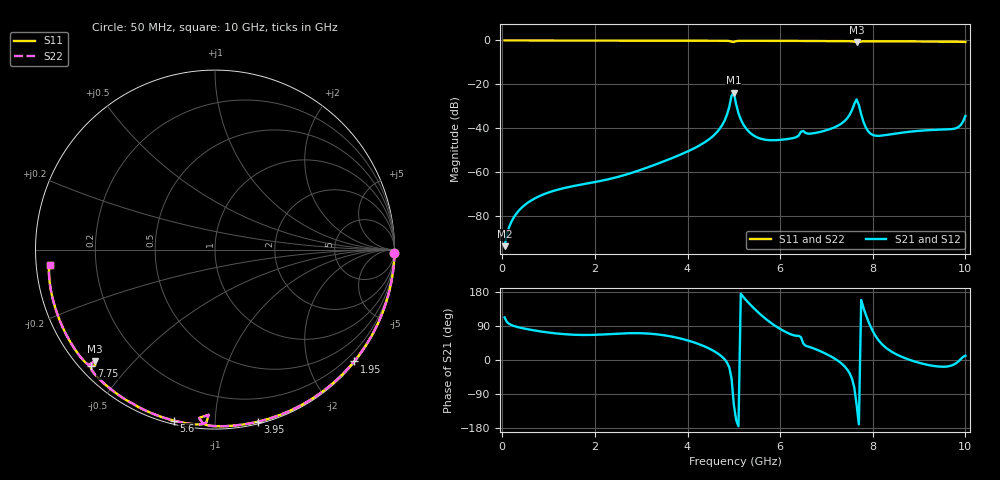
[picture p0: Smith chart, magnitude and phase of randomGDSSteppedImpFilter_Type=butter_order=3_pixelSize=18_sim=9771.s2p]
! freq	dB(S11)	phase(S11)	dB(S12)	phase(S12)
!  dB(S21)	phase(S21)	dB(S22)	phase(S22)
!S-par simulation data
#  GHz  S  DB  R 50
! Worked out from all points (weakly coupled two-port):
!   200 points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, 50 MHz to 10 GHz, reference 50 ohm
!   highest |S21| = -23.75 dB at 5 GHz (marker M1); lowest = -93.8 dB at 50 MHz (marker M2)
!   lowest |S11| = -0.8 dB at 7.65 GHz (marker M3), VSWR 22.48, Z = 2.56 - j19.6 ohm
!   |S11| at or under -10 dB: nowhere
!   |S22| runs from -0.8 to 0.0 dB; largest |S21 - S12| = 0
!   S11 on the Smith chart (normalised r, x): 50 MHz: open; 1.95 GHz: 0.03, -2.84; 3.95 GHz: 0.02, -1.28; 5.6 GHz: 0.02, -0.79; 7.75 GHz: 0.03, -0.40; 10 GHz: 0.04, -0.05
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0.05  -0.00 -1.0  -93.79 112.3  -93.79 112.3  -0.00 -1.0
0.25  -0.00 -5.1  -80.61 89.8  -80.61 89.8  -0.00 -5.1
0.9  -0.02 -18.2  -70.09 74.1  -70.09 74.1  -0.02 -18.2
1.75  -0.04 -34.9  -65.53 66.0  -65.53 66.0  -0.04 -34.9
1.95  -0.05 -38.8  -64.75 66.3  -64.75 66.3  -0.05 -38.8
3.4  -0.09 -66.0  -55.83 66.8  -55.83 66.8  -0.09 -66.0
3.95  -0.10 -75.9  -51.10 53.5  -51.10 53.5  -0.10 -75.9
4.65  -0.13 -88.4  -41.44 17.4  -41.44 17.4  -0.13 -88.4
4.8  -0.16 -91.4  -36.54 1.9  -36.54 1.9  -0.16 -91.4
5  -0.72 -92.2  -23.75 -118.2  -23.75 -118.2  -0.71 -92.2
5.05  -0.31 -92.9  -29.15 -158.5  -29.15 -158.5  -0.31 -92.9
5.25  -0.17 -97.5  -39.73 159.9  -39.73 159.9  -0.17 -97.5
5.6  -0.18 -103.6  -44.91 117.6  -44.91 117.6  -0.18 -103.6
6.7  -0.24 -121.6  -42.38 31.6  -42.38 31.6  -0.24 -121.6
7.35  -0.29 -132.3  -37.46 -12.0  -37.46 -12.0  -0.29 -132.3
7.65  -0.77 -137.2  -26.87 -117.5  -26.87 -117.5  -0.78 -137.2
7.75  -0.47 -136.7  -33.73 158.6  -33.73 158.6  -0.47 -136.7
7.95  -0.37 -140.6  -42.48 88.9  -42.48 88.9  -0.37 -140.6
8.35  -0.39 -147.2  -42.89 26.4  -42.89 26.4  -0.39 -147.2
9.75  -0.56 -170.2  -40.28 -12.0  -40.28 -12.0  -0.56 -170.2
9.9  -0.61 -172.9  -38.53 2.4  -38.53 2.4  -0.61 -172.8
10  -0.69 -174.8  -34.42 11.4  -34.42 11.4  -0.69 -174.7
